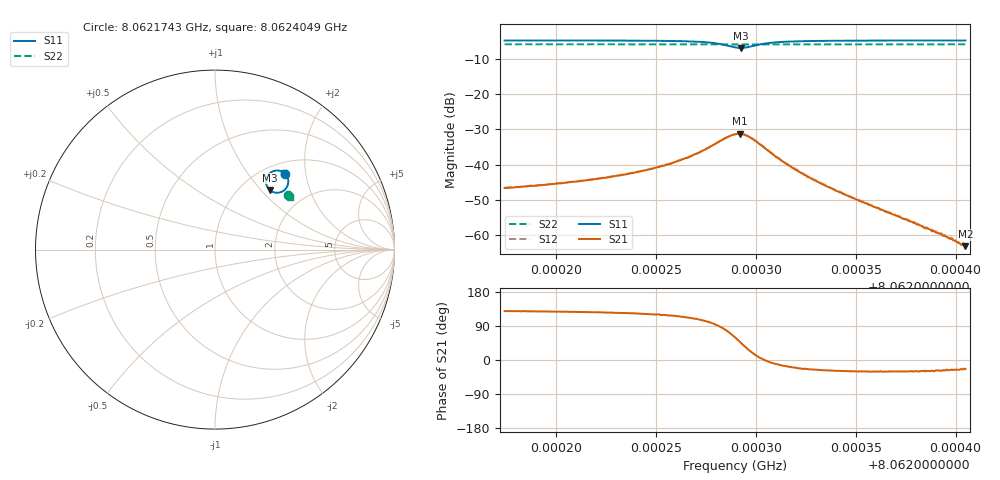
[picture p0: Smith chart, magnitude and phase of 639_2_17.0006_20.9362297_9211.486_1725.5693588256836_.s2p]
#  HZ  S  RI  R  50.00
! Rohde & Schwarz Vector Network Analyzer
! Rohde-Schwarz,ZNB20-2Port,1311601062101988,3.16
! Created: UTC 3/20/2024, 11:20:45 PM
! freq[Hz]  re:S11  im:S11  re:S21  im:S21  re:S12  im:S12  re:S22  im:S22
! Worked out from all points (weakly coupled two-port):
!   401 points, 8.0621743 GHz to 8.0624049 GHz, reference 50 ohm
!   highest |S21| = -31.22 dB at 8.0622919 GHz (marker M1); lowest = -63.1 dB at 8.0624049 GHz (marker M2)
!   lowest |S11| = -6.9 dB at 8.0622925 GHz (marker M3), VSWR 2.64, Z = 67.1 + j56 ohm
!   |S11| at or under -10 dB: nowhere
!   |S22| runs from -6.0 to -5.9 dB; largest |S21 - S12| = 0.0014
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8.06217432e9  0.39 0.4235  -0.00294 0.00364  -0.00274 0.00382  0.4091 0.302
8.06221295e9  0.3956 0.4169  -0.00351 0.00473  -0.00325 0.00503  0.4107 0.2997
8.06223428e9  0.3998 0.4101  -0.00406 0.006  -0.00369 0.00632  0.4114 0.2984
8.06225157e9  0.4046 0.4003  -0.00475 0.00799  -0.00414 0.00843  0.4119 0.297
8.06225734e9  0.4063 0.3949  -0.0047 0.0091  -0.00429 0.00952  0.412 0.2965
8.06226656e9  0.4083 0.3821  -0.00469 0.0119  -0.00409 0.0123  0.4125 0.2955
8.06227809e9  0.4015 0.3503  -0.00238 0.0184  -0.00129 0.0186  0.4121 0.2938
8.06228616e9  0.3644 0.3194  0.00647 0.024  0.00775 0.0238  0.4104 0.2925
8.06228962e9  0.3322 0.3182  0.0134 0.0233  0.0146 0.0228  0.4091 0.2925
8.06229193e9  0.31 0.3285  0.0181 0.0207  0.0191 0.0197  0.4083 0.2933
8.06229251e9  0.3048 0.3324  0.0191 0.0194  0.0201 0.0188  0.4083 0.2934
8.06229481e9  0.29 0.3525  0.0216 0.0147  0.0226 0.0139  0.4079 0.2944
8.06229769e9  0.2842 0.3799  0.0223 0.00882  0.023 0.00783  0.408 0.2955
8.06230577e9  0.3074 0.4271  0.0161 -0.000835  0.0163 -0.00185  0.41 0.297
8.06231499e9  0.3347 0.4397  0.01 -0.00289  0.01 -0.00354  0.4117 0.2967
8.06232825e9  0.3555 0.4401  0.00568 -0.00264  0.00563 -0.00301  0.4129 0.2958
8.06234497e9  0.3679 0.4371  0.00326 -0.00185  0.0032 -0.00203  0.4141 0.2947
8.06236688e9  0.3764 0.4333  0.0018 -0.00106  0.00174 -0.00118  0.4151 0.2935
8.06239397e9  0.3823 0.4297  0.000871 -0.000446  0.000875 -0.000534  0.4161 0.2917
8.06239916e9  0.3832 0.4291  0.000766 -0.000366  0.000714 -0.000419  0.4164 0.2914
8.06240032e9  0.3833 0.429  0.000736 -0.000348  0.000738 -0.000439  0.4164 0.2913
8.06240493e9  0.3841 0.4286  0.000641 -0.000284  0.000648 -0.000325  0.4165 0.2913
